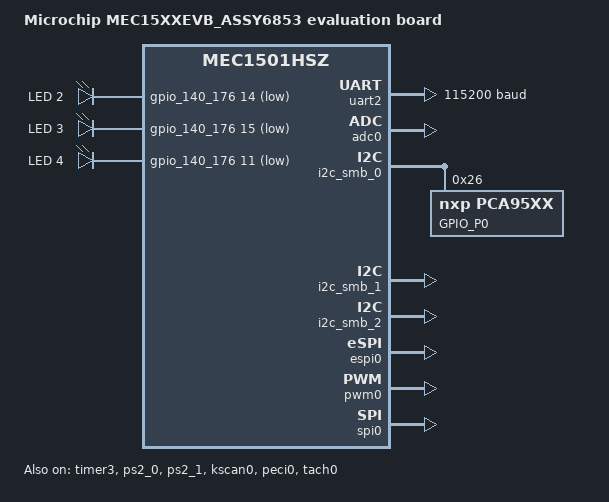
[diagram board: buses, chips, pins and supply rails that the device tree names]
/*
 * Copyright (c) 2018, Intel Corporation
 *
 * SPDX-License-Identifier: Apache-2.0
 */

/dts-v1/;

#include <microchip/mec1501hsz.dtsi>

/ {
	model = "Microchip MEC15XXEVB_ASSY6853 evaluation board";
	compatible = "microchip,mec15xxevb_assy6853", "microchip,mec1501hsz";

	chosen {
		zephyr,sram = &sram0;
		zephyr,console = &uart2;
		zephyr,flash = &flash0;
	};

	aliases {
		led0 = &led2;
		led1 = &led3;
		led2 = &led4;
		pwm-0 = &pwm0;
		peci-0 = &peci0;
		i2c0 = &i2c_smb_0;
		i2c1 = &i2c_smb_1;
		i2c7 = &i2c_smb_2;
		kscan0 = &kscan0;
	};

	leds {
		compatible = "gpio-leds";
		led2: led_0 {
			/* GPIO156/LED0 on schematic,
			 * LED2 on silkscreen.
			 */
			gpios = <&gpio_140_176 14 GPIO_ACTIVE_LOW>;
			label = "LED 2";
		};
		led3: led_1 {
			/* GPIO157/LED1 on schematic,
			 * LED3 on silkscreen.
			 */
			gpios = <&gpio_140_176 15 GPIO_ACTIVE_LOW>;
			label = "LED 3";
		};
		led4: led_2 {
			/* GPIO153/LED2 on schematic,
			 * LED4 on silkscreen.
			 */
			gpios = <&gpio_140_176 11 GPIO_ACTIVE_LOW>;
			label = "LED 4";
		};
	};

	power-states {
		idle: idle {
			compatible = "zephyr,power-state";
			power-state-name = "suspend-to-idle";
			min-residency-us = <1000000>;
		};

		suspend_to_ram: suspend_to_ram {
			compatible = "zephyr,power-state";
			power-state-name = "suspend-to-ram";
			min-residency-us = <2000000>;
		};
	};
};

&cpu0 {
	cpu-power-states = <&idle &suspend_to_ram>;
};

&uart2 {
	status = "okay";
	current-speed = <115200>;
};

&adc0 {
	status = "okay";
};

&i2c_smb_0 {
	status = "okay";
	label = "I2C0";
	port_sel = <0>;

	pca9555@26 {
		compatible = "nxp,pca95xx";
		label = "GPIO_P0";

		/* Depends on JP53 for device address.
		 * Pin 1-2 = A0, pin 3-4 = A1, pin 5-6 = A2.
		 * Address is: 0100<A2><A1><A0>b.
		 *
		 * Default has pin 1-2 on JP53 connected,
		 * resulting in device address 0x26.
		 */
		reg = <0x26>;

		gpio-controller;
		#gpio-cells = <2>;
	};
};

&i2c_smb_1 {
	status = "okay";
	label = "I2C1";
	port_sel = <1>;
};

&i2c_smb_2 {
	status = "okay";
	label = "I2C7";
	port_sel = <7>;
};

&espi0 {
	status = "okay";
	io_girq = <19>;
	vw_girq = <24>;
	pc_girq = <15>;
};

&timer3 {
	status = "okay";
};

&ps2_0 {
	status = "okay";
};

&ps2_1 {
	status = "okay";
};

&pwm0 {
	status = "okay";
};

&kscan0 {
	status = "okay";
};

&peci0 {
	status = "okay";
};

&spi0 {
	status = "okay";
	port_sel = <0>;
	chip_select = <0>;
	lines = <1>;
};

&tach0 {
	status = "okay";
};
